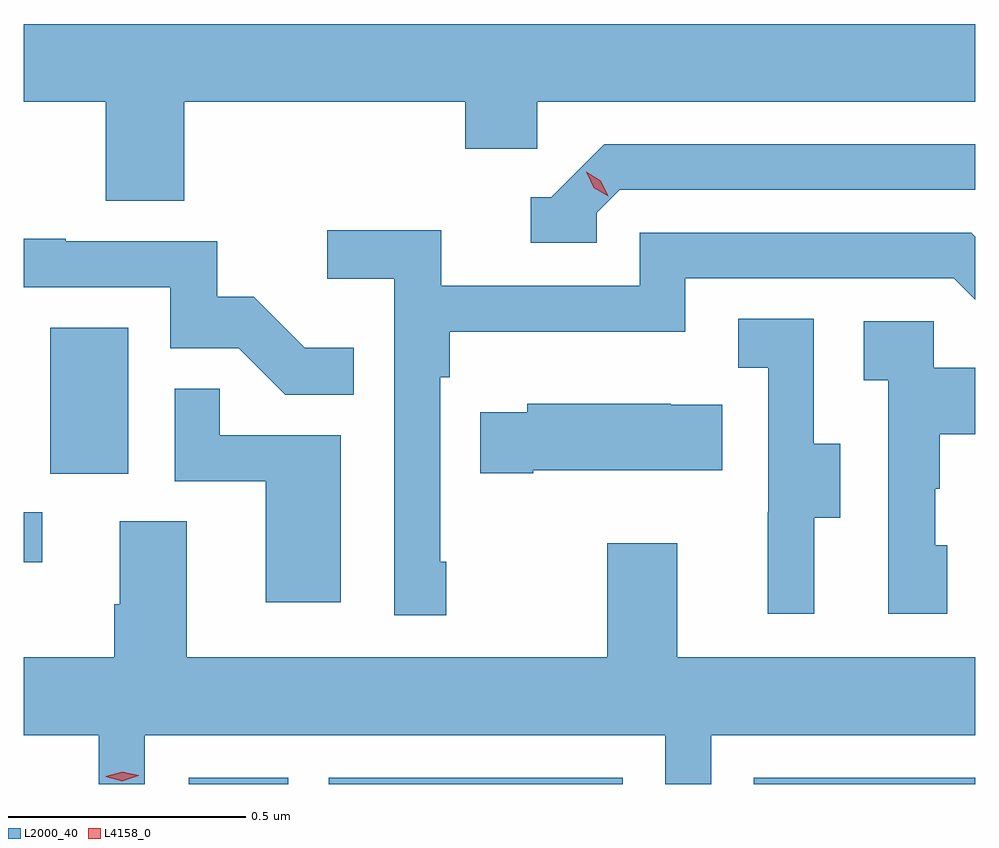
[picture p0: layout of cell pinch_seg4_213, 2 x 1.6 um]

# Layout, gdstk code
import gdstk
lib = gdstk.Library(unit=1e-6, precision=1e-09)
def R(c, l, rs):  # rectangles x0, y0, x1, y1
    for r in rs: c.add(gdstk.rectangle(r[:2], r[2:], *l))
def P(c, l, *ps):  # polygons
    for p in ps: c.add(gdstk.Polygon(p, *l))
L2000_40 = (2000, 40)
L4158_0 = (4158, 0)

pinch_seg4_213 = lib.new_cell('pinch_seg4_213')
R(pinch_seg4_213, L2000_40, [(976.578,830.018,976.787,830.031), (976.872,830.018,977.49,830.031), (977.766,830.018,978.231,830.031), (976.231,830.484,976.27,830.589), (976.286,830.67,976.45,830.977)])
P(pinch_seg4_213, L2000_40, [(976.568,831.452),(977.159,831.452),(977.159,831.354),(977.31,831.354),(977.31,831.452),(978.231,831.452),(978.231,831.616),(976.231,831.616),(976.231,831.452),(976.403,831.452),(976.403,831.244),(976.568,831.244)],
  [(977.436,831.219),(977.484,831.267),(978.231,831.267),(978.231,831.363),(977.451,831.363),(977.34,831.252),(977.297,831.252),(977.297,831.156),(977.436,831.156)],
  [(977.119,830.485),(977.106,830.485),(977.106,830.873),(977.126,830.873),(977.126,830.969),(977.622,830.969),(977.622,831.081),(978.186,831.081),(978.231,831.036),(978.231,831.169),(978.223,831.177),(977.526,831.177),(977.526,831.066),(977.108,831.066),(977.108,831.182),(976.869,831.182),(976.869,831.08),(977.01,831.08),(977.01,830.373),(977.119,830.373)],
  [(976.925,830.935),(976.821,830.935),(976.714,831.042),(976.638,831.042),(976.638,831.159),(976.319,831.159),(976.319,831.164),(976.231,831.164),(976.231,831.063),(976.539,831.063),(976.539,830.934),(976.683,830.934),(976.781,830.836),(976.925,830.836)],
  [(977.893,830.578),(977.947,830.578),(977.947,830.733),(977.892,830.733),(977.892,830.996),(977.733,830.996),(977.733,830.893),(977.796,830.893),(977.796,830.589),(977.795,830.589),(977.795,830.376),(977.893,830.376)],
  [(978.172,830.52),(978.147,830.52),(978.147,830.639),(978.157,830.639),(978.157,830.753),(978.231,830.753),(978.231,830.893),(978.144,830.893),(978.144,830.991),(977.997,830.991),(977.997,830.867),(978.048,830.867),(978.048,830.376),(978.172,830.376)],
  [(976.897,830.751),(976.643,830.751),(976.643,830.849),(976.548,830.849),(976.548,830.655),(976.739,830.655),(976.739,830.4),(976.897,830.4)],
  [(977.302,830.678),(977.699,830.678),(977.699,830.815),(977.591,830.815),(977.591,830.818),(977.289,830.818),(977.289,830.8),(977.191,830.8),(977.191,830.671),(977.302,830.671)],
  [(976.485,830.12),(977.58,830.12),(977.58,830.018),(977.676,830.018),(977.676,830.12),(978.231,830.12),(978.231,830.284),(977.605,830.284),(977.605,830.524),(977.458,830.524),(977.458,830.284),(976.573,830.284),(976.573,830.57),(976.433,830.57),(976.433,830.396),(976.421,830.396),(976.421,830.284),(976.231,830.284),(976.231,830.12),(976.388,830.12),(976.388,830.018),(976.485,830.018)])
P(pinch_seg4_213, L4158_0, [(976.438,830.024),(976.403,830.033),(976.403,830.033),(976.403,830.034),(976.438,830.044),(976.473,830.036),(976.473,830.035),(976.473,830.035)],
  [(977.46,831.254),(977.429,831.272),(977.413,831.305),(977.413,831.305),(977.413,831.305),(977.444,831.286),(977.46,831.254),(977.46,831.254)])

lib.write_gds('pinch_seg4_213.gds')
